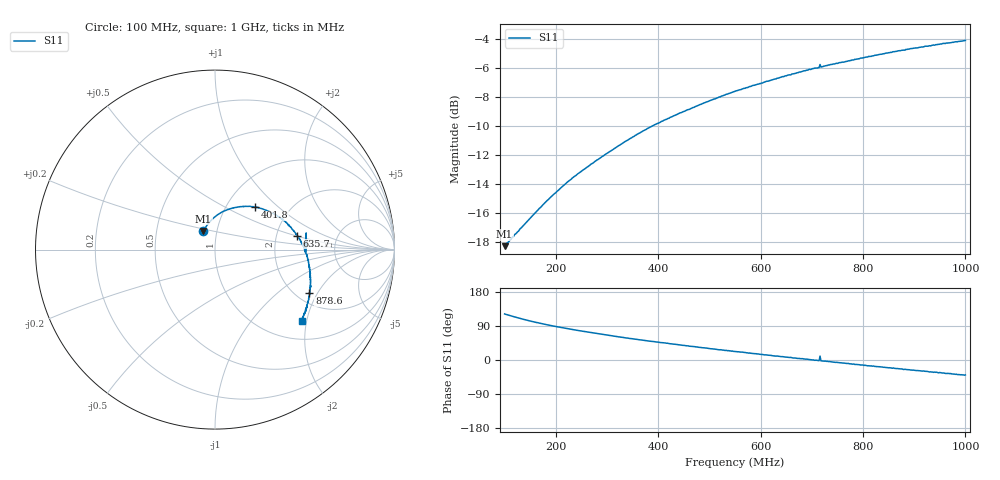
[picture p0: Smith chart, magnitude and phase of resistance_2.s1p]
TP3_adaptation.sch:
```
<QucsStudio Schematic 3.3.2>
<Properties>
View=0,-50,1343,800,1,0,21
Grid=10,10,1
DataSet=*.dat
DataDisplay=*.sch
OpenDisplay=1
showFrame=0
FrameText0=Title
FrameText1=Drawn By:
FrameText2=Date:
FrameText3=Revision:
</Properties>
<Symbol>
</Symbol>
<Components>
Pac P1 1 230 170 18 -26 0 0 "1" 1 "50 Ω" 1 "0 dBm" 0 "1 GHz" 0 "26.85" 0 "SUBCLICK" 0
GND * 1 230 200 0 0 0 0
.SP SP1 1 210 270 0 87 0 0 "lin" 1 "100 MHz" 1 "1000Mhz" 1 "505" 1 "no" 0 "1" 0 "2" 0 "none" 0
TLIN Line1 1 510 140 -26 20 0 0 "50 Ω" 1 "d" 1 "0 dB" 0 "26.85" 0 "" 0 "" 0
Eqn Eqn1 1 220 550 0 8 0 0 "fre=400e6=" 1 "d=0.049=" 1 "Z1=98=" 1 "Z01=sqrt(50*Z1)=" 0 "lam=3e8/fre=" 0 "d1=lam/4=" 0 "rho=yvalue(S[1,1],fre)=" 0 "VSWR=(1+abs(rho))/(1-abs(rho))=" 0 "Zu=rtoz(rho)=" 0 "yes" 0
TLIN Line2 1 400 140 -26 20 0 0 "Z01" 1 "d1" 1 "0 dB" 0 "26.85" 0 "" 0 "" 0
GND * 1 630 170 0 0 0 0
SPfile X1 1 630 140 -26 -49 0 0 "resistance_2.s1p" 0 "1" 0 "polar" 0 "linear" 0 "short" 0 "none" 0 "block" 0 "SOT23" 0
</Components>
<Wires>
230 140 370 140 "" 0 0 0 ""
430 140 480 140 "" 0 0 0 ""
540 140 600 140 "" 0 0 0 ""
</Wires>
<Diagrams>
<Smith 720 470 410 410 31 #c0c0c0 1 00 1 0 1 1 1 0 4 1 1 0 4 1 315 0 225 "" "" "">
	<Legend 10 -100 0>
	<"S[1,1]" "" #0000ff 1 3 0 0 0 0 "">
	  <Mkr 4e+08 330 -310 3 1 0 0 0 50>
</Smith>
<Tab 430 620 810 70 71 #c0c0c0 1 00 1 0 1 1 1 0 1 1 1 0 1 1 315 0 225 "" "" "">
	<"fre" "" #0000ff 0 3 1 0 0 0 "">
	<"d" "" #0000ff 0 3 1 0 0 0 "">
	<"Z1" "" #0000ff 0 3 1 0 0 0 "">
	<"Z01" "" #0000ff 0 3 1 0 0 0 "">
	<"d1" "" #0000ff 0 3 1 0 0 0 "">
	<"rho" "" #0000ff 0 3 1 0 0 0 "">
	<"VSWR" "" #0000ff 0 3 1 0 0 0 "">
	<"Zu" "" #0000ff 0 3 0 0 0 0 "">
</Tab>
</Diagrams>
<Paintings>
Rectangle 340 70 230 180 #000000 2 1 #c0c0c0 1 0
</Paintings>
```
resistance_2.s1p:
# HZ S RI R 50
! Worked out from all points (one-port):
!   505 points, 100 MHz to 1 GHz, reference 50 ohm
!   lowest |S11| = -18.3 dB at 100 MHz (marker M1), VSWR 1.28, Z = 43.1 + j9.1 ohm
!   |S11| at or under -10 dB: start of sweep to 387 MHz
!   S11 on the Smith chart (normalised r, x): 100 MHz: 0.86, +0.18; 401.8 MHz: 1.36, +0.72; 635.7 MHz: 2.61, +0.52; 878.6 MHz: 2.33, -1.71; 1 GHz: 1.43, -1.87
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1e8  -0.0641 0.1041
2.321428e8  0.0352 0.2069
3.214285e8  0.1294 0.2375
4e8  0.2211 0.237
4.017857e8  0.2232 0.2365
4.982142e8  0.3308 0.1984
6.357142e8  0.4577 0.0782
6.999999e8  0.4988 0.00508
7.107142e8  0.502 -0.00879
7.196428e8  0.507 -0.0227
7.214285e8  0.5072 -0.024
8.017856e8  0.5281 -0.1361
8.785713e8  0.5256 -0.2439
9.999999e8  0.4828 -0.3974
